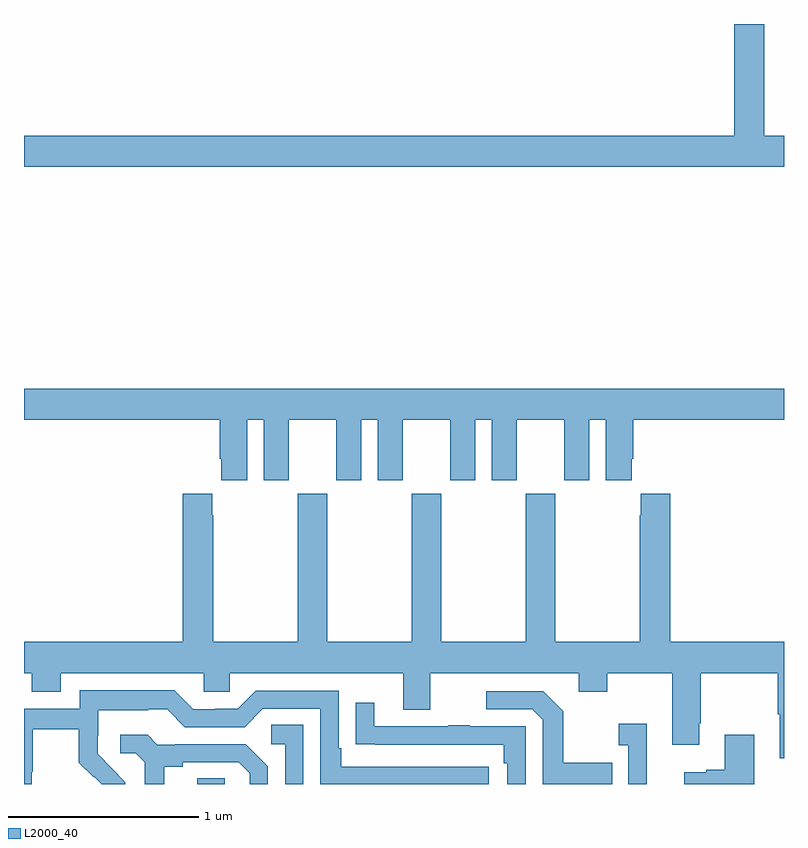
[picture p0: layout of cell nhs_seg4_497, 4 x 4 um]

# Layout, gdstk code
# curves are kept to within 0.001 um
import gdstk
lib = gdstk.Library(unit=1e-6, precision=1e-09)
def R(c, l, rs):  # rectangles x0, y0, x1, y1
    for r in rs: c.add(gdstk.rectangle(r[:2], r[2:], *l))
def P(c, l, *ps):  # polygons
    for p in ps: c.add(gdstk.Polygon(p, *l))
L2000_40 = (2000, 40)

nhs_seg4_497 = lib.new_cell('nhs_seg4_497')
R(nhs_seg4_497, L2000_40, [(135.911,798.9,136.056,798.929)])
P(nhs_seg4_497, L2000_40, [(139,802.312),(138.897,802.312),(138.897,802.9),(138.737,802.9),(138.737,802.312),(135,802.312),(135,802.148),(139,802.148)],
  [(136.174,800.816),(136.262,800.816),(136.262,800.499),(136.393,800.499),(136.393,800.816),(136.643,800.816),(136.643,800.499),(136.774,800.499),(136.774,800.816),(136.862,800.816),(136.862,800.499),(136.993,800.499),(136.993,800.816),(137.243,800.816),(137.243,800.499),(137.374,800.499),(137.374,800.816),(137.462,800.816),(137.462,800.499),(137.593,800.499),(137.593,800.816),(137.843,800.816),(137.843,800.499),(137.974,800.499),(137.974,800.816),(138.062,800.816),(138.062,800.499),(138.199,800.499),(138.199,800.611),(138.206,800.611),(138.206,800.816),(139,800.816),(139,800.98),(135,800.98),(135,800.816),(136.031,800.816),(136.031,800.611),(136.037,800.611),(136.037,800.499),(136.174,800.499)],
  [(136.441,800.428),(136.441,799.648),(135.996,799.648),(135.996,800.315),(135.991,800.315),(135.991,800.428),(135.836,800.428),(135.836,799.648),(135,799.648),(135,799.484),(135.041,799.484),(135.041,799.385),(135.193,799.385),(135.193,799.484),(135.945,799.484),(135.945,799.386),(136.083,799.386),(136.083,799.484),(136.997,799.484),(136.997,799.29),(137.137,799.29),(137.137,799.484),(137.921,799.484),(137.921,799.385),(138.069,799.385),(138.069,799.484),(138.413,799.484),(138.413,799.107),(138.553,799.107),(138.553,799.219),(138.561,799.219),(138.561,799.484),(138.967,799.484),(138.967,799.268),(138.977,799.268),(138.977,799.035),(139,799.035),(139,799.648),(138.401,799.648),(138.401,800.428),(138.245,800.428),(138.245,800.315),(138.241,800.315),(138.241,799.648),(137.796,799.648),(137.796,800.428),(137.641,800.428),(137.641,799.648),(137.196,799.648),(137.196,800.428),(137.041,800.428),(137.041,799.648),(136.596,799.648),(136.596,800.428)],
  [(135.042,798.964),(135.045,798.964),(135.045,799.188),(135.289,799.188),(135.289,799.013),(135.366,798.936),(135.369,798.939),(135.409,798.9),(135.534,798.9),(135.534,798.91),(135.388,799.058),(135.388,799.155),(135.39,799.155),(135.39,799.289),(135.653,799.289),(135.653,799.293),(135.753,799.293),(135.846,799.2),(136.161,799.2),(136.257,799.296),(136.56,799.296),(136.56,798.9),(137.446,798.9),(137.446,798.99),(136.669,798.99),(136.669,799.087),(136.656,799.087),(136.656,799.392),(136.221,799.392),(136.125,799.296),(136.007,799.296),(136.007,799.293),(135.891,799.293),(135.791,799.393),(135.294,799.393),(135.294,799.296),(135,799.296),(135,798.9),(135.042,798.9)],
  [(138.095,799.011),(137.839,799.011),(137.839,799.283),(137.733,799.389),(137.433,799.389),(137.433,799.293),(137.676,799.293),(137.73,799.239),(137.73,798.9),(138.095,798.9)],
  [(137.64,799.203),(137.345,799.203),(137.345,799.208),(137.233,799.208),(137.233,799.203),(136.843,799.203),(136.843,799.327),(136.747,799.327),(136.747,799.108),(136.849,799.108),(136.849,799.107),(137.524,799.107),(137.524,799.01),(137.544,799.01),(137.544,798.9),(137.64,798.9)],
  [(138.278,799.216),(138.129,799.216),(138.129,799.103),(138.18,799.103),(138.18,798.9),(138.278,798.9)],
  [(136.47,799.211),(136.302,799.211),(136.302,799.11),(136.374,799.11),(136.374,798.9),(136.47,798.9)],
  [(135.739,798.992),(135.835,798.992),(135.835,799.014),(136.13,799.014),(136.187,798.957),(136.187,798.9),(136.284,798.9),(136.284,798.994),(136.168,799.11),(135.796,799.11),(135.796,799.107),(135.702,799.107),(135.65,799.159),(135.507,799.159),(135.507,799.062),(135.588,799.062),(135.635,799.015),(135.635,798.9),(135.739,798.9)],
  [(138.844,799.159),(138.689,799.159),(138.689,798.974),(138.59,798.974),(138.59,798.961),(138.474,798.961),(138.474,798.9),(138.844,798.9)])

lib.write_gds('nhs_seg4_497.gds')
